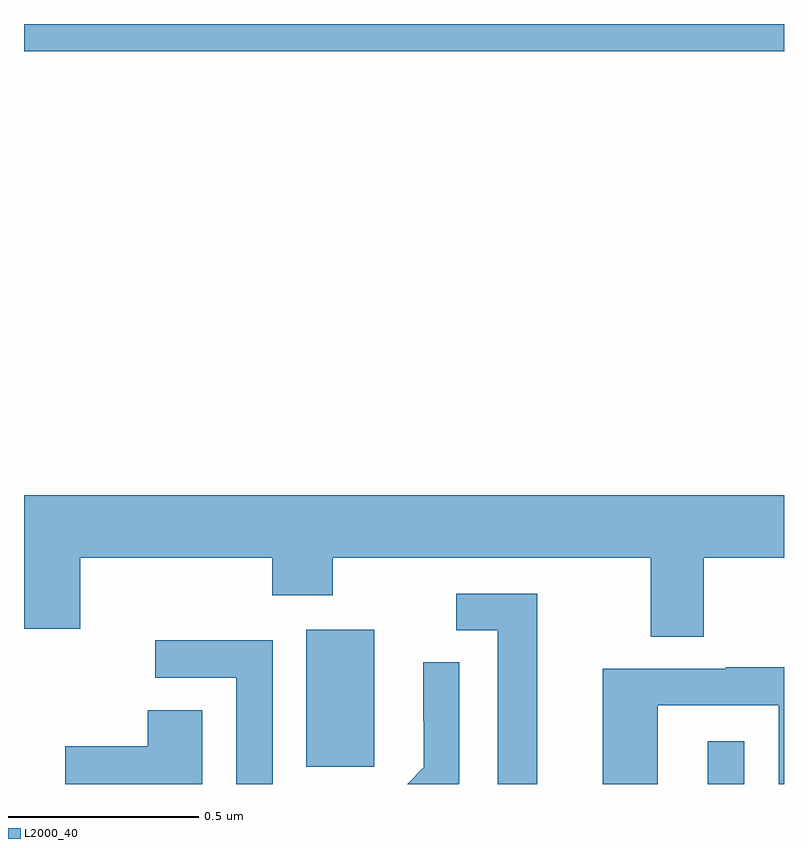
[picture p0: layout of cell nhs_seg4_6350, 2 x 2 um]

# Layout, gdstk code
import gdstk
lib = gdstk.Library(unit=1e-6, precision=1e-09)
def R(c, l, rs):  # rectangles x0, y0, x1, y1
    for r in rs: c.add(gdstk.rectangle(r[:2], r[2:], *l))
def P(c, l, *ps):  # polygons
    for p in ps: c.add(gdstk.Polygon(p, *l))
L2000_40 = (2000, 40)

nhs_seg4_6350 = lib.new_cell('nhs_seg4_6350')
R(nhs_seg4_6350, L2000_40, [(190.799,786.9,190.896,787.012), (189.743,786.945,189.922,787.306), (189,788.828,191,788.9)])
P(nhs_seg4_6350, L2000_40, [(189,787.308),(189.148,787.308),(189.148,787.496),(189.653,787.496),(189.653,787.397),(189.813,787.397),(189.813,787.496),(190.649,787.496),(190.649,787.288),(190.789,787.288),(190.789,787.496),(191,787.496),(191,787.66),(189,787.66)],
  [(190.351,787.401),(190.137,787.401),(190.137,787.305),(190.247,787.305),(190.247,786.9),(190.351,786.9)],
  [(189.654,787.278),(189.345,787.278),(189.345,787.179),(189.558,787.179),(189.558,786.9),(189.654,786.9)],
  [(190.146,786.902),(190.146,787.22),(190.05,787.22),(190.05,787.066),(190.052,787.066),(190.052,786.944),(190.008,786.9),(190.144,786.9)],
  [(190.668,787.107),(190.986,787.107),(190.986,786.9),(191,786.9),(191,787.207),(190.847,787.207),(190.847,787.203),(190.523,787.203),(190.523,786.9),(190.668,786.9)],
  [(189.469,787.094),(189.326,787.094),(189.326,786.999),(189.108,786.999),(189.108,786.9),(189.469,786.9)])

lib.write_gds('nhs_seg4_6350.gds')
